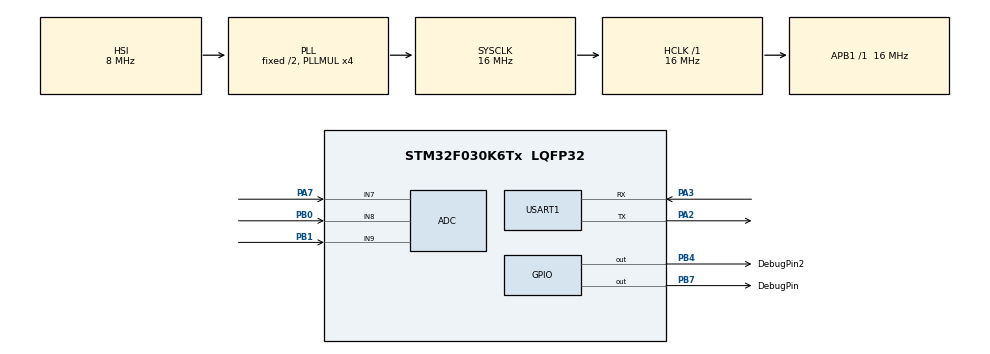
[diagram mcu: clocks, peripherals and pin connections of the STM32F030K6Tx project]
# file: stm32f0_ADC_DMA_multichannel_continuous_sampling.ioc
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ADC.ClockPrescaler=ADC_CLOCK_SYNC_PCLK_DIV4
ADC.ContinuousConvMode=ENABLE
ADC.DMAContinuousRequests=ENABLE
ADC.EOCSelection=ADC_EOC_SEQ_CONV
ADC.ExternalTrigConv=ADC_SOFTWARE_START
ADC.LowPowerAutoWait=ENABLE
ADC.Overrun=ADC_OVR_DATA_PRESERVED
ADC.SamplingTime=ADC_SAMPLETIME_28CYCLES_5
Dma.ADC.0.Direction=DMA_PERIPH_TO_MEMORY
Dma.ADC.0.Instance=DMA1_Channel1
Dma.ADC.0.MemDataAlignment=DMA_MDATAALIGN_HALFWORD
Dma.ADC.0.MemInc=DMA_MINC_ENABLE
Dma.ADC.0.Mode=DMA_CIRCULAR
Dma.ADC.0.PeriphDataAlignment=DMA_PDATAALIGN_HALFWORD
Dma.ADC.0.PeriphInc=DMA_PINC_DISABLE
Dma.ADC.0.Priority=DMA_PRIORITY_HIGH
Dma.Request0=ADC
Mcu.Family=STM32F0
Mcu.Name=STM32F030K6Tx
Mcu.Package=LQFP32
NVIC.ADC1_IRQn=true\:0\:0\:false\:false\:true\:true\:true
NVIC.DMA1_Channel1_IRQn=true\:0\:0\:false\:false\:true\:false\:true
NVIC.TIM1_BRK_UP_TRG_COM_IRQn=true\:0\:0\:false\:false\:true\:true\:true
PA2.Mode=Asynchronous
PA2.Signal=USART1_TX
PA3.Mode=Asynchronous
PA3.Signal=USART1_RX
PA7.Mode=IN7
PA7.Signal=ADC_IN7
PB0.Mode=IN8
PB0.Signal=ADC_IN8
PB1.Mode=IN9
PB1.Signal=ADC_IN9
PB4.GPIO_Label=DebugPin2
PB4.Signal=GPIO_Output
PB7.GPIO_Label=DebugPin
PB7.Signal=GPIO_Output
ProjectManager.HeapSize=0x200
ProjectManager.StackSize=0x400
ProjectManager.TargetToolchain=STM32CubeIDE
RCC.AHBFreq_Value=16000000
RCC.APB1Freq_Value=16000000
RCC.APB1TimFreq_Value=16000000
RCC.HCLKFreq_Value=16000000
RCC.PLLMUL=RCC_PLL_MUL4
RCC.SYSCLKFreq_VALUE=16000000
RCC.SYSCLKSource=RCC_SYSCLKSOURCE_PLLCLK
TIM1.Period=16000-1
TIM1.Prescaler=10-1
TIM1.TIM_MasterOutputTrigger=TIM_TRGO_UPDATE
USART1.VirtualMode-Asynchronous=VM_ASYNC
VP_TIM1_VS_ClockSourceINT.Mode=Internal
board=custom

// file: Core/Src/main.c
/* USER CODE BEGIN Header */
/**
  ******************************************************************************
  * @file           : main.c
  * @brief          : Main program body
  ******************************************************************************
  * @attention
  *
  * Copyright (c) 2022 STMicroelectronics.
  * All rights reserved.
  *
  * This software is licensed under terms that can be found in the LICENSE file
  * in the root directory of this software component.
  * If no LICENSE file comes with this software, it is provided AS-IS.
  *
  ******************************************************************************
  */
/* USER CODE END Header */
#include "main.h"

ADC_HandleTypeDef hadc;
DMA_HandleTypeDef hdma_adc;

TIM_HandleTypeDef htim1;

UART_HandleTypeDef huart1;

/* USER CODE BEGIN PV */
volatile uint16_t	AdcArray[3] = {0};
volatile unsigned char		AdcComplete = 0;
volatile unsigned char		TimerFlag = 0;	// indicates a timer1 IRQ
uint32_t			AdcSummations[3];

/* USER CODE END PV */

void SystemClock_Config(void);
static void MX_GPIO_Init(void);
static void MX_DMA_Init(void);
static void MX_ADC_Init(void);
static void MX_USART1_UART_Init(void);
static void MX_TIM1_Init(void);

/* USER CODE BEGIN 0 */

/**
  * @brief  Conversion complete callback in non blocking mode
  * @param  hadc ADC handle
  * @retval None
  */
void HAL_ADC_ConvCpltCallback(ADC_HandleTypeDef *hadc) {
	static int i;

HAL_GPIO_TogglePin(DebugPin2_GPIO_Port, DebugPin2_Pin);
	if (TimerFlag == 1) {
		HAL_GPIO_WritePin(DebugPin_GPIO_Port, DebugPin_Pin, GPIO_PIN_SET);
		i = 0;
		AdcSummations[0] = 0;
		AdcSummations[1] = 0;
		AdcSummations[2] = 0;
		TimerFlag = 0;
	}

	if (i < 100)	// still counting?
			{
		i++;
		AdcSummations[0] += AdcArray[0];
		AdcSummations[1] += AdcArray[1];
		AdcSummations[2] += AdcArray[2];
		if (i == 100) {
			HAL_GPIO_WritePin(DebugPin_GPIO_Port, DebugPin_Pin, GPIO_PIN_RESET);
			AdcComplete = 1;
			HAL_ADC_Stop_DMA(hadc);
		}
	}
}

/**
  * @brief  Period elapsed callback in non-blocking mode
  * @param  htim TIM handle
  * @retval None
  */
void HAL_TIM_PeriodElapsedCallback(TIM_HandleTypeDef *htim)
{
	/* Prevent unused argument(s) compilation warning */
	UNUSED(htim);

	HAL_ADC_Start_DMA(&hadc, (uint32_t *)AdcArray, 3);
	TimerFlag = 1;

}

/* USER CODE END 0 */

int main(void)
{

  /* MCU Configuration--------------------------------------------------------*/

  /* Reset of all peripherals, Initializes the Flash interface and the Systick. */
  HAL_Init();

  /* Configure the system clock */
  SystemClock_Config();

  /* Initialize all configured peripherals */
  MX_GPIO_Init();
  MX_DMA_Init();
  MX_ADC_Init();
  MX_USART1_UART_Init();
  MX_TIM1_Init();

  /* Infinite loop */
  /* USER CODE BEGIN WHILE */

  HAL_TIM_Base_Start_IT(&htim1);

  while (1)
  {
    /* USER CODE END WHILE */

    /* USER CODE BEGIN 3 */
	  HAL_Delay(10);
  }
  /* USER CODE END 3 */
}

void SystemClock_Config(void)
{
  RCC_OscInitTypeDef RCC_OscInitStruct = {0};
  RCC_ClkInitTypeDef RCC_ClkInitStruct = {0};
  RCC_PeriphCLKInitTypeDef PeriphClkInit = {0};

  /** Initializes the RCC Oscillators according to the specified parameters
  * in the RCC_OscInitTypeDef structure.
  */
  RCC_OscInitStruct.OscillatorType = RCC_OSCILLATORTYPE_HSI;
  RCC_OscInitStruct.HSIState = RCC_HSI_ON;
  RCC_OscInitStruct.HSICalibrationValue = RCC_HSICALIBRATION_DEFAULT;
  RCC_OscInitStruct.PLL.PLLState = RCC_PLL_ON;
  RCC_OscInitStruct.PLL.PLLSource = RCC_PLLSOURCE_HSI;
  RCC_OscInitStruct.PLL.PLLMUL = RCC_PLL_MUL4;
  RCC_OscInitStruct.PLL.PREDIV = RCC_PREDIV_DIV1;
  if (HAL_RCC_OscConfig(&RCC_OscInitStruct) != HAL_OK)
  {
    Error_Handler();
  }
  /** Initializes the CPU, AHB and APB buses clocks
  */
  RCC_ClkInitStruct.ClockType = RCC_CLOCKTYPE_HCLK|RCC_CLOCKTYPE_SYSCLK
                              |RCC_CLOCKTYPE_PCLK1;
  RCC_ClkInitStruct.SYSCLKSource = RCC_SYSCLKSOURCE_PLLCLK;
  RCC_ClkInitStruct.AHBCLKDivider = RCC_SYSCLK_DIV1;
  RCC_ClkInitStruct.APB1CLKDivider = RCC_HCLK_DIV1;

  if (HAL_RCC_ClockConfig(&RCC_ClkInitStruct, FLASH_LATENCY_0) != HAL_OK)
  {
    Error_Handler();
  }
  PeriphClkInit.PeriphClockSelection = RCC_PERIPHCLK_USART1;
  PeriphClkInit.Usart1ClockSelection = RCC_USART1CLKSOURCE_PCLK1;
  if (HAL_RCCEx_PeriphCLKConfig(&PeriphClkInit) != HAL_OK)
  {
    Error_Handler();
  }
}

static void MX_ADC_Init(void)
{

  ADC_ChannelConfTypeDef sConfig = {0};

  /** Configure the global features of the ADC (Clock, Resolution, Data Alignment and number of conversion)
  */
  hadc.Instance = ADC1;
  hadc.Init.ClockPrescaler = ADC_CLOCK_SYNC_PCLK_DIV4;
  hadc.Init.Resolution = ADC_RESOLUTION_12B;
  hadc.Init.DataAlign = ADC_DATAALIGN_RIGHT;
  hadc.Init.ScanConvMode = ADC_SCAN_DIRECTION_FORWARD;
  hadc.Init.EOCSelection = ADC_EOC_SEQ_CONV;
  hadc.Init.LowPowerAutoWait = ENABLE;
  hadc.Init.LowPowerAutoPowerOff = DISABLE;
  hadc.Init.ContinuousConvMode = ENABLE;
  hadc.Init.DiscontinuousConvMode = DISABLE;
  hadc.Init.ExternalTrigConv = ADC_SOFTWARE_START;
  hadc.Init.ExternalTrigConvEdge = ADC_EXTERNALTRIGCONVEDGE_NONE;
  hadc.Init.DMAContinuousRequests = ENABLE;
  hadc.Init.Overrun = ADC_OVR_DATA_PRESERVED;
  if (HAL_ADC_Init(&hadc) != HAL_OK)
  {
    Error_Handler();
  }
  /** Configure for the selected ADC regular channel to be converted.
  */
  sConfig.Channel = ADC_CHANNEL_7;
  sConfig.Rank = ADC_RANK_CHANNEL_NUMBER;
  sConfig.SamplingTime = ADC_SAMPLETIME_28CYCLES_5;
  if (HAL_ADC_ConfigChannel(&hadc, &sConfig) != HAL_OK)
  {
    Error_Handler();
  }
  /** Configure for the selected ADC regular channel to be converted.
  */
  sConfig.Channel = ADC_CHANNEL_8;
  if (HAL_ADC_ConfigChannel(&hadc, &sConfig) != HAL_OK)
  {
    Error_Handler();
  }
  /** Configure for the selected ADC regular channel to be converted.
  */
  sConfig.Channel = ADC_CHANNEL_9;
  if (HAL_ADC_ConfigChannel(&hadc, &sConfig) != HAL_OK)
  {
    Error_Handler();
  }

}

static void MX_TIM1_Init(void)
{

  TIM_ClockConfigTypeDef sClockSourceConfig = {0};
  TIM_MasterConfigTypeDef sMasterConfig = {0};

  htim1.Instance = TIM1;
  htim1.Init.Prescaler = 10-1;
  htim1.Init.CounterMode = TIM_COUNTERMODE_UP;
  htim1.Init.Period = 16000-1;
  htim1.Init.ClockDivision = TIM_CLOCKDIVISION_DIV1;
  htim1.Init.RepetitionCounter = 0;
  htim1.Init.AutoReloadPreload = TIM_AUTORELOAD_PRELOAD_DISABLE;
  if (HAL_TIM_Base_Init(&htim1) != HAL_OK)
  {
    Error_Handler();
  }
  sClockSourceConfig.ClockSource = TIM_CLOCKSOURCE_INTERNAL;
  if (HAL_TIM_ConfigClockSource(&htim1, &sClockSourceConfig) != HAL_OK)
  {
    Error_Handler();
  }
  sMasterConfig.MasterOutputTrigger = TIM_TRGO_UPDATE;
  sMasterConfig.MasterSlaveMode = TIM_MASTERSLAVEMODE_DISABLE;
  if (HAL_TIMEx_MasterConfigSynchronization(&htim1, &sMasterConfig) != HAL_OK)
  {
    Error_Handler();
  }

}

static void MX_USART1_UART_Init(void)
{

  huart1.Instance = USART1;
  huart1.Init.BaudRate = 38400;
  huart1.Init.WordLength = UART_WORDLENGTH_8B;
  huart1.Init.StopBits = UART_STOPBITS_1;
  huart1.Init.Parity = UART_PARITY_NONE;
  huart1.Init.Mode = UART_MODE_TX_RX;
  huart1.Init.HwFlowCtl = UART_HWCONTROL_NONE;
  huart1.Init.OverSampling = UART_OVERSAMPLING_16;
  huart1.Init.OneBitSampling = UART_ONE_BIT_SAMPLE_DISABLE;
  huart1.AdvancedInit.AdvFeatureInit = UART_ADVFEATURE_NO_INIT;
  if (HAL_UART_Init(&huart1) != HAL_OK)
  {
    Error_Handler();
  }

}

static void MX_DMA_Init(void)
{

  /* DMA controller clock enable */
  __HAL_RCC_DMA1_CLK_ENABLE();

  /* DMA interrupt init */
  /* DMA1_Channel1_IRQn interrupt configuration */
  HAL_NVIC_SetPriority(DMA1_Channel1_IRQn, 0, 0);
  HAL_NVIC_EnableIRQ(DMA1_Channel1_IRQn);

}

static void MX_GPIO_Init(void)
{
  GPIO_InitTypeDef GPIO_InitStruct = {0};

  /* GPIO Ports Clock Enable */
  __HAL_RCC_GPIOA_CLK_ENABLE();
  __HAL_RCC_GPIOB_CLK_ENABLE();

  /*Configure GPIO pin Output Level */
  HAL_GPIO_WritePin(GPIOB, DebugPin2_Pin|DebugPin_Pin, GPIO_PIN_RESET);

  /*Configure GPIO pins : DebugPin2_Pin DebugPin_Pin */
  GPIO_InitStruct.Pin = DebugPin2_Pin|DebugPin_Pin;
  GPIO_InitStruct.Mode = GPIO_MODE_OUTPUT_PP;
  GPIO_InitStruct.Pull = GPIO_NOPULL;
  GPIO_InitStruct.Speed = GPIO_SPEED_FREQ_LOW;
  HAL_GPIO_Init(GPIOB, &GPIO_InitStruct);

}

void Error_Handler(void)
{
  __disable_irq();
  while (1)
  {
  }
}
